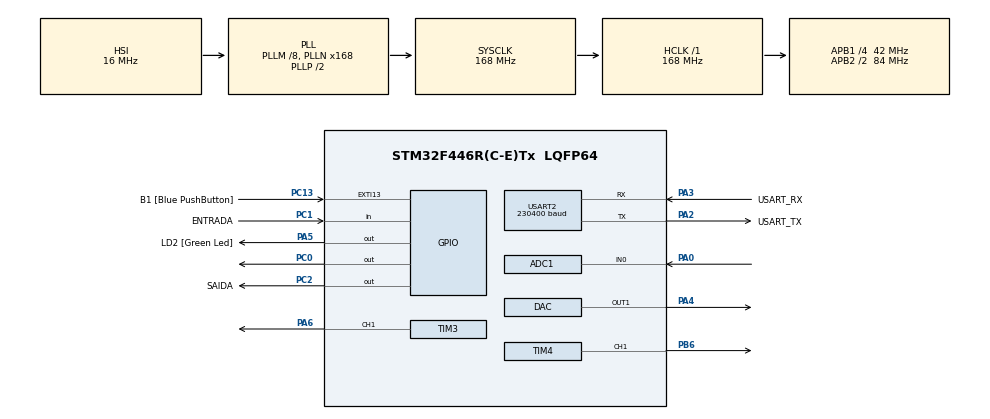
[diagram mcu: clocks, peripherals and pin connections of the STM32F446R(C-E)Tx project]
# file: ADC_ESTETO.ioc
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ADC1.Channel-0\#ChannelRegularConversion=ADC_CHANNEL_0
ADC1.DMAContinuousRequests=ENABLE
ADC1.ExternalTrigConv=ADC_EXTERNALTRIGCONV_T3_TRGO
ADC1.ExternalTrigConvEdge=ADC_EXTERNALTRIGCONVEDGE_RISING
ADC1.InjNumberOfConversion=0
ADC1.NbrOfConversion=1
ADC1.NbrOfConversionFlag=1
ADC1.Rank-0\#ChannelRegularConversion=1
ADC1.SamplingTime-0\#ChannelRegularConversion=ADC_SAMPLETIME_15CYCLES
ADC1.master=1
DAC.DAC_OutputBuffer=DAC_OUTPUTBUFFER_ENABLE
DAC.DAC_Trigger=DAC_TRIGGER_T4_TRGO
Dma.ADC1.0.Direction=DMA_PERIPH_TO_MEMORY
Dma.ADC1.0.FIFOMode=DMA_FIFOMODE_DISABLE
Dma.ADC1.0.Instance=DMA2_Stream0
Dma.ADC1.0.MemDataAlignment=DMA_MDATAALIGN_HALFWORD
Dma.ADC1.0.MemInc=DMA_MINC_ENABLE
Dma.ADC1.0.Mode=DMA_NORMAL
Dma.ADC1.0.PeriphDataAlignment=DMA_PDATAALIGN_HALFWORD
Dma.ADC1.0.PeriphInc=DMA_PINC_DISABLE
Dma.ADC1.0.Priority=DMA_PRIORITY_MEDIUM
Dma.DAC1.2.Direction=DMA_MEMORY_TO_PERIPH
Dma.DAC1.2.FIFOMode=DMA_FIFOMODE_DISABLE
Dma.DAC1.2.Instance=DMA1_Stream5
Dma.DAC1.2.MemDataAlignment=DMA_MDATAALIGN_HALFWORD
Dma.DAC1.2.MemInc=DMA_MINC_ENABLE
Dma.DAC1.2.Mode=DMA_NORMAL
Dma.DAC1.2.PeriphDataAlignment=DMA_PDATAALIGN_HALFWORD
Dma.DAC1.2.PeriphInc=DMA_PINC_DISABLE
Dma.DAC1.2.Priority=DMA_PRIORITY_HIGH
Dma.Request0=ADC1
Dma.Request1=USART2_TX
Dma.Request2=DAC1
Dma.USART2_TX.1.Direction=DMA_MEMORY_TO_PERIPH
Dma.USART2_TX.1.FIFOMode=DMA_FIFOMODE_DISABLE
Dma.USART2_TX.1.Instance=DMA1_Stream6
Dma.USART2_TX.1.MemDataAlignment=DMA_MDATAALIGN_BYTE
Dma.USART2_TX.1.MemInc=DMA_MINC_ENABLE
Dma.USART2_TX.1.Mode=DMA_NORMAL
Dma.USART2_TX.1.PeriphDataAlignment=DMA_PDATAALIGN_BYTE
Dma.USART2_TX.1.PeriphInc=DMA_PINC_DISABLE
Dma.USART2_TX.1.Priority=DMA_PRIORITY_VERY_HIGH
Mcu.Family=STM32F4
Mcu.Name=STM32F446R(C-E)Tx
Mcu.Package=LQFP64
NVIC.DMA1_Stream5_IRQn=true\:0\:0\:false\:false\:true\:false\:true\:true
NVIC.DMA1_Stream6_IRQn=true\:0\:0\:false\:false\:true\:false\:true\:true
NVIC.DMA2_Stream0_IRQn=true\:0\:0\:false\:false\:true\:false\:true\:true
NVIC.PriorityGroup=NVIC_PRIORITYGROUP_0
NVIC.USART2_IRQn=true\:0\:0\:false\:false\:true\:true\:true\:true
PA0-WKUP.Signal=ADCx_IN0
PA13.GPIO_Label=TMS
PA13.Signal=SYS_JTMS-SWDIO
PA14.GPIO_Label=TCK
PA14.Signal=SYS_JTCK-SWCLK
PA2.GPIO_Label=USART_TX
PA2.Mode=Asynchronous
PA2.Signal=USART2_TX
PA3.GPIO_Label=USART_RX
PA3.Mode=Asynchronous
PA3.Signal=USART2_RX
PA4.Signal=COMP_DAC1_group
PA5.GPIO_Label=LD2 [Green Led]
PA5.Signal=GPIO_Output
PA6.Signal=S_TIM3_CH1
PB3.GPIO_Label=SWO
PB3.Signal=SYS_JTDO-SWO
PB6.Signal=S_TIM4_CH1
PC0.Signal=GPIO_Output
PC1.GPIO_Label=ENTRADA
PC1.Signal=GPIO_Input
PC13.GPIO_Label=B1 [Blue PushButton]
PC13.GPIO_ModeDefaultEXTI=GPIO_MODE_IT_FALLING
PC13.Signal=GPXTI13
PC14-OSC32_IN.Signal=RCC_OSC32_IN
PC15-OSC32_OUT.Signal=RCC_OSC32_OUT
PC2.GPIO_Label=SAIDA
PC2.Signal=GPIO_Output
PH0-OSC_IN.Signal=RCC_OSC_IN
PH1-OSC_OUT.Signal=RCC_OSC_OUT
ProjectManager.HeapSize=0x200
ProjectManager.StackSize=0x400
ProjectManager.TargetToolchain=STM32CubeIDE
RCC.AHBFreq_Value=168000000
RCC.APB1CLKDivider=RCC_HCLK_DIV4
RCC.APB1Freq_Value=42000000
RCC.APB1TimFreq_Value=84000000
RCC.APB2CLKDivider=RCC_HCLK_DIV2
RCC.APB2Freq_Value=84000000
RCC.APB2TimFreq_Value=168000000
RCC.CortexFreq_Value=168000000
RCC.FLatency-AdvancedSettings=FLASH_LATENCY_5
RCC.HCLKFreq_Value=168000000
RCC.HSE_VALUE=8000000
RCC.HSI_VALUE=16000000
RCC.LSE_VALUE=32768
RCC.PLLM=8
RCC.PLLN=168
RCC.SYSCLKFreq_VALUE=168000000
RCC.SYSCLKSource=RCC_SYSCLKSOURCE_PLLCLK
RCC.USBFreq_Value=168000000
RCC.VCOOutputFreq_Value=336000000
SH.ADCx_IN0.0=ADC1_IN0,IN0
SH.COMP_DAC1_group.0=DAC_OUT1,DAC_OUT1
SH.S_TIM3_CH1.0=TIM3_CH1,Output Compare1 CH1
SH.S_TIM4_CH1.0=TIM4_CH1,Output Compare1 CH1
TIM3.Channel-Output\ Compare1\ CH1=TIM_CHANNEL_1
TIM3.OCMode_1=TIM_OCMODE_TOGGLE
TIM3.Period=99
TIM3.Prescaler=104
TIM3.Pulse-Output\ Compare1\ CH1=0
TIM3.TIM_MasterOutputTrigger=TIM_TRGO_UPDATE
TIM4.Channel-Output\ Compare1\ CH1=TIM_CHANNEL_1
TIM4.OCMode_1=TIM_OCMODE_TOGGLE
TIM4.Period=99
TIM4.Prescaler=104
TIM4.TIM_MasterOutputTrigger=TIM_TRGO_UPDATE
USART2.BaudRate=230400
USART2.VirtualMode=VM_ASYNC
VP_TIM3_VS_ClockSourceINT.Mode=Internal
VP_TIM4_VS_ClockSourceINT.Mode=Internal
board=NUCLEO-F446RE

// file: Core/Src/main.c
/* USER CODE BEGIN Header */
/**
  ******************************************************************************
  * @file           : main.c
  ******************************************************************************
  * @attention
  *
  * Softare feito para trabalho de conclusão do curso técnico em eletrônica na
  * fundação liberato.
  *
  * @brief
  * O código cosiste em aquisicionar amostras do ADC, processar usando filtros
  * digitais IIR Chebyhev II na forma de biquads transpostos usando a
  * biblioteca DSP da CMSIS e por fim enviar o som filtrado de volta pelo DAC
  *
  ******************************************************************************
  */
/* USER CODE END Header */
#include "main.h"

/* USER CODE BEGIN Includes */
#include "string.h"
#include "stdio.h"
#include "math.h"
#include "arm_math.h"
#include "arm_const_structs.h"
/* USER CODE END Includes */

/* USER CODE BEGIN PD */
#define N_AMOSTRAS 128 						 // Amostras DMA buffer
#define BLOCK_SIZE 32						 // Tamanho de cada bloco de amostras
#define NUM_BLOCKS (N_AMOSTRAS / BLOCK_SIZE) // Numero de blocos de 32 amostras

#define MSG_SIZE 200 // Tamanho da mensagem da serial
#define Voffset 1165 // offset de 1.5V
#define IIR_ORDEM 40 // Ordem do filtro
#define IIR_SECOESBIQUAD IIR_ORDEM/2 // Numero de seções biquads
#define GANHO_AUDIO 5				 // Ganho na amplitude das amostras
/* USER CODE END PD */

ADC_HandleTypeDef hadc1;
DMA_HandleTypeDef hdma_adc1;

DAC_HandleTypeDef hdac;
DMA_HandleTypeDef hdma_dac1;

TIM_HandleTypeDef htim3;
TIM_HandleTypeDef htim4;

UART_HandleTypeDef huart2;
DMA_HandleTypeDef hdma_usart2_tx;

/* USER CODE BEGIN PV */
int16_t medidas[2][N_AMOSTRAS];					// Valores do ADC em int16_t
uint16_t entra = 0;								// Linha do da matriz de amostras

float32_t entrada[N_AMOSTRAS];					// Valores não filtrados em float32
float32_t saida[N_AMOSTRAS];					// Valores filtrados em float32

float32_t *InputValuesf32_ptr = &entrada[0]; 	// declare Input pointer
float32_t *OutputValuesf32_ptr = &saida[0]; 	// declare Output pointer

int16_t amostras_de_saida[N_AMOSTRAS]; 			// Valores filtrados em int16
int16_t amostras_de_saida_py[N_AMOSTRAS];

uint8_t soltou = 0; // Variável para debounce
uint8_t estado = 0; // Variável para debounce

float32_t estado_biquad_coracao[IIR_ORDEM] = {0};
float32_t estado_biquad_pulmao[IIR_ORDEM] = {0};

float32_t coefs_biquad_coracao_negados[5*IIR_SECOESBIQUAD] = {
		0.00008961896804606912195646090113, 0.00002950709423280477720669297270, 0.00008961896804606910840393374507, 1.41151657231764571243104455788853, -0.50008321107119668713636428947211,
		1.00000000000000000000000000000000, -1.45272403227823065918755673919804, 1.00000000000000000000000000000000, 1.48721817981854065315872048813617, -0.56701045829571883327702153110295,
		1.00000000000000000000000000000000, -1.77462507126759705400331768032629, 0.99999999999999977795539507496869, 1.59377661128072922736009786603972, -0.66124185926229284149258091929369,
		1.00000000000000000000000000000000, -1.87386911961864788267462245130446, 1.00000000000000000000000000000000, 1.69284173992479969328428524022456, -0.74891929786118838219266535816132,
		1.00000000000000000000000000000000, -1.91590653990214776491995962715009, 0.99999999999999988897769753748435, 1.77125564502976340364170937391464, -0.81847039650147002110003313646303,
		1.00000000000000000000000000000000, -1.93712729209319012291246053791838, 1.00000000000000022204460492503131, 1.83000370938214751426187376637245, -0.87083113674767054224190587774501,
		1.00000000000000000000000000000000, -1.94894287076975136763223872549133, 1.00000000000000000000000000000000, 1.87388832064673049870862087118439, -0.91031580908123721496139069131459,
		1.00000000000000000000000000000000, -1.95578867538759193500652600050671, 0.99999999999999988897769753748435, 1.90753933409056153358562823996181, -0.94109662628393442318497363885399,
		1.00000000000000000000000000000000, -1.95962574095055086509375996683957, 1.00000000000000044408920985006262, 1.93458364200577337399522548366804, -0.96648143994030888404012102910201,
		1.00000000000000000000000000000000, -1.99999903425160541203808861610014, 0.99999999999999977795539507496869, 1.98694228711753995142430539999623, -0.98698626056918903337589199509239,
		1.00000000000000000000000000000000, -1.99999150577920059568270971794846, 1.00000000000000000000000000000000, 1.98743469100059355625376156240236, -0.98748590375360500992485413007671,
		1.00000000000000000000000000000000, -1.99997745061261578136679872841341, 1.00000000000000044408920985006262, 1.98835046963899730876335070206551, -0.98841505176057042891812898233184,
		1.00000000000000000000000000000000, -1.96136143971428511534327299159486, 1.00000000000000022204460492503131, 1.95779429640365343345820292597637, -0.98906306359198425948164867804735,
		1.00000000000000000000000000000000, -1.99995864881066864882086520083249, 1.00000000000000000000000000000000, 1.98958115513641686789014784153551, -0.98966336070438953864680797778419,
		1.00000000000000000000000000000000, -1.99993730509238143433492496114923, 0.99999999999999988897769753748435, 1.99101549426325252767355777905323, -0.99111740227632305622051944737905,
		1.00000000000000000000000000000000, -1.99991569038331329366542377101723, 0.99999999999999966693309261245304, 1.99256338282221578950270668428857, -0.99268497680061307253396307714866,
		1.00000000000000000000000000000000, -1.99989586849850953242935247544665, 0.99999999999999988897769753748435, 1.99416352492602300117141567170620, -0.99430298833067043418054709036369,
		1.00000000000000000000000000000000, -1.99987953650627403590078756678849, 1.00000000000000000000000000000000, 1.99578084122502286135159010882489, -0.99593493621585427177933524944820,
		1.00000000000000000000000000000000, -1.99986796039529823865166235918878, 0.99999999999999988897769753748435, 1.99740002394738880298064032103866, -0.99756447793350766506392801602487,
		1.00000000000000000000000000000000, -1.99986196871683374887140871578595, 1.00000000000000000000000000000000, 1.99901878719740699885676349367714, -0.99918865653074695476476563271717
};

float32_t coefs_biquad_pulmao_negados[5*IIR_SECOESBIQUAD] = {
		0.00042795945535743291259292431228, 0.00078419610124759648629721997537, 0.00042795945535743280417270706373, 0.36006952496092770044100461745984, -0.04017843778983194724663263741604,
		1.00000000000000000000000000000000, 0.89252630667361554372973841964267, 1.00000000000000022204460492503131, 0.45364598330667088577072831867554, -0.11426379035281511442612156770338,
		1.00000000000000000000000000000000, -0.00789340334742653568222969795443, 1.00000000000000022204460492503131, 0.60928054330644876301903423154727, -0.23685418792503715179620371600322,
		1.00000000000000000000000000000000, -0.58572416952888761709772325048107, 1.00000000000000022204460492503131, 0.78655854161661087342594100846327, -0.37583541856267932423918409767793,
		1.00000000000000000000000000000000, -0.93020186479068056595309599288157, 1.00000000000000000000000000000000, 0.95603586280143426634481329529081, -0.50874172366101455544651344098384,
		1.00000000000000000000000000000000, -1.13801800197083524679442234628368, 1.00000000000000044408920985006262, 1.10368686534339244253999368083896, -0.62582862518073678614882737747394,
		1.00000000000000000000000000000000, -1.26604034701301815246665682934690, 1.00000000000000000000000000000000, 1.22632645818834040696287956961896, -0.72598550552075735708967840764672,
		1.00000000000000000000000000000000, -1.34481150438902763433191012154566, 0.99999999999999977795539507496869, 1.32614379114315106278354505775496, -0.81229960168106829510037414365797,
		1.00000000000000000000000000000000, -1.39056301542469706866711476322962, 0.99999999999999988897769753748435, 1.40724697489610450773511729494203, -0.88947333091777203151195863028988,
		1.00000000000000000000000000000000, -1.99995367099179355285798465047264, 1.00000000000000000000000000000000, 1.91012500769369930608831964491401, -0.91220935560076643611182589665987,
		1.00000000000000000000000000000000, -1.99959441012323813069428979360964, 1.00000000000000000000000000000000, 1.91401082757505913711781886377139, -0.91641869915284701608726436461438,
		1.00000000000000000000000000000000, -1.99893245251865669942503700440284, 0.99999999999999988897769753748435, 1.92091447759981837073439692176180, -0.92391012215008927466186605670373,
		1.00000000000000000000000000000000, -1.99806396650676076909292078198632, 1.00000000000000000000000000000000, 1.92965388699269579930728468752932, -0.93340847415936045727846703812247,
		1.00000000000000000000000000000000, -1.99710028175798015581676736474037, 0.99999999999999988897769753748435, 1.93924426026518226251482701627538, -0.94383068733215291779004019190324,
		1.00000000000000000000000000000000, -1.99614686940687402483263213071041, 1.00000000000000000000000000000000, 1.94907041188968976896944695909042, -0.95447510993830875225540921746870,
		1.00000000000000000000000000000000, -1.41165524464389213754600405081874, 1.00000000000000022204460492503131, 1.47407397048799415628650422149803, -0.96286507962753364875396755451220,
		1.00000000000000000000000000000000, -1.99529117178488846207073947880417, 0.99999999999999988897769753748435, 1.95883936173909445344065716199111, -0.96497998633401582679880448267795,
		1.00000000000000000000000000000000, -1.99459875844276868228632793034194, 1.00000000000000022204460492503131, 1.96847696383129378006060505867936, -0.97522002983841216128269024920883,
		1.00000000000000000000000000000000, -1.99411456477494386518856117618270, 1.00000000000000022204460492503131, 1.97804028273214482780417711182963, -0.98521654709997008581012778449804,
		1.00000000000000000000000000000000, -1.99386602788905920036199859168846, 1.00000000000000000000000000000000, 1.98765837629074870740453206963139, -0.99507565999924563193701487762155
};

/* USER CODE END PV */

void SystemClock_Config(void);
static void MX_GPIO_Init(void);
static void MX_DMA_Init(void);
static void MX_ADC1_Init(void);
static void MX_TIM3_Init(void);
static void MX_USART2_UART_Init(void);
static void MX_DAC_Init(void);
static void MX_TIM4_Init(void);

/* USER CODE BEGIN 0 */
// Instâncias de cada filtro
arm_biquad_cascade_df2T_instance_f32 SC;
arm_biquad_cascade_df2T_instance_f32 SP;
/* USER CODE END 0 */

int main(void)
{

  /* USER CODE BEGIN 1 */
	// inicializando os filtros
	arm_biquad_cascade_df2T_init_f32(&SC, IIR_SECOESBIQUAD, &coefs_biquad_coracao_negados[0], &estado_biquad_coracao[0]);
	arm_biquad_cascade_df2T_init_f32(&SP, IIR_SECOESBIQUAD, &coefs_biquad_pulmao_negados[0], &estado_biquad_pulmao[0]);
  /* USER CODE END 1 */

  /* MCU Configuration--------------------------------------------------------*/

  /* Reset of all peripherals, Initializes the Flash interface and the Systick. */
  HAL_Init();

  /* Configure the system clock */
  SystemClock_Config();

  /* Initialize all configured peripherals */
  MX_GPIO_Init();
  MX_DMA_Init();
  MX_ADC1_Init();
  MX_TIM3_Init();
  MX_USART2_UART_Init();
  MX_DAC_Init();
  MX_TIM4_Init();
  /* USER CODE BEGIN 2 */
  HAL_TIM_OC_Start(&htim3, TIM_CHANNEL_1);
  HAL_TIM_OC_Start(&htim4, TIM_CHANNEL_1);

  //Começa a enviar as medidas para a memoria no caso 16
  HAL_ADC_Start_DMA(&hadc1, &medidas[entra][0], N_AMOSTRAS);

  /* USER CODE END 2 */

  /* Infinite loop */
   while (1)
  {
	   if(HAL_GPIO_ReadPin(B1_GPIO_Port, B1_Pin) == 1 && soltou == 0){
	   		soltou = 1;
	   		estado = ~estado;
	   	}

	   	if(HAL_GPIO_ReadPin(B1_GPIO_Port, B1_Pin) == 0){
	   	   soltou = 0;
	   	}
  }
}

void SystemClock_Config(void)
{
  RCC_OscInitTypeDef RCC_OscInitStruct = {0};
  RCC_ClkInitTypeDef RCC_ClkInitStruct = {0};

  /** Configure the main internal regulator output voltage
  */
  __HAL_RCC_PWR_CLK_ENABLE();
  __HAL_PWR_VOLTAGESCALING_CONFIG(PWR_REGULATOR_VOLTAGE_SCALE1);

  /** Initializes the RCC Oscillators according to the specified parameters
  * in the RCC_OscInitTypeDef structure.
  */
  RCC_OscInitStruct.OscillatorType = RCC_OSCILLATORTYPE_HSI;
  RCC_OscInitStruct.HSIState = RCC_HSI_ON;
  RCC_OscInitStruct.HSICalibrationValue = RCC_HSICALIBRATION_DEFAULT;
  RCC_OscInitStruct.PLL.PLLState = RCC_PLL_ON;
  RCC_OscInitStruct.PLL.PLLSource = RCC_PLLSOURCE_HSI;
  RCC_OscInitStruct.PLL.PLLM = 8;
  RCC_OscInitStruct.PLL.PLLN = 168;
  RCC_OscInitStruct.PLL.PLLP = RCC_PLLP_DIV2;
  RCC_OscInitStruct.PLL.PLLQ = 2;
  RCC_OscInitStruct.PLL.PLLR = 2;
  if (HAL_RCC_OscConfig(&RCC_OscInitStruct) != HAL_OK)
  {
    Error_Handler();
  }

  /** Initializes the CPU, AHB and APB buses clocks
  */
  RCC_ClkInitStruct.ClockType = RCC_CLOCKTYPE_HCLK|RCC_CLOCKTYPE_SYSCLK
                              |RCC_CLOCKTYPE_PCLK1|RCC_CLOCKTYPE_PCLK2;
  RCC_ClkInitStruct.SYSCLKSource = RCC_SYSCLKSOURCE_PLLCLK;
  RCC_ClkInitStruct.AHBCLKDivider = RCC_SYSCLK_DIV1;
  RCC_ClkInitStruct.APB1CLKDivider = RCC_HCLK_DIV4;
  RCC_ClkInitStruct.APB2CLKDivider = RCC_HCLK_DIV2;

  if (HAL_RCC_ClockConfig(&RCC_ClkInitStruct, FLASH_LATENCY_5) != HAL_OK)
  {
    Error_Handler();
  }
}

static void MX_ADC1_Init(void)
{

  ADC_ChannelConfTypeDef sConfig = {0};

  /** Configure the global features of the ADC (Clock, Resolution, Data Alignment and number of conversion)
  */
  hadc1.Instance = ADC1;
  hadc1.Init.ClockPrescaler = ADC_CLOCK_SYNC_PCLK_DIV4;
  hadc1.Init.Resolution = ADC_RESOLUTION_12B;
  hadc1.Init.ScanConvMode = DISABLE;
  hadc1.Init.ContinuousConvMode = DISABLE;
  hadc1.Init.DiscontinuousConvMode = DISABLE;
  hadc1.Init.ExternalTrigConvEdge = ADC_EXTERNALTRIGCONVEDGE_RISING;
  hadc1.Init.ExternalTrigConv = ADC_EXTERNALTRIGCONV_T3_TRGO;
  hadc1.Init.DataAlign = ADC_DATAALIGN_RIGHT;
  hadc1.Init.NbrOfConversion = 1;
  hadc1.Init.DMAContinuousRequests = ENABLE;
  hadc1.Init.EOCSelection = ADC_EOC_SINGLE_CONV;
  if (HAL_ADC_Init(&hadc1) != HAL_OK)
  {
    Error_Handler();
  }

  /** Configure for the selected ADC regular channel its corresponding rank in the sequencer and its sample time.
  */
  sConfig.Channel = ADC_CHANNEL_0;
  sConfig.Rank = 1;
  sConfig.SamplingTime = ADC_SAMPLETIME_15CYCLES;
  if (HAL_ADC_ConfigChannel(&hadc1, &sConfig) != HAL_OK)
  {
    Error_Handler();
  }

}

static void MX_DAC_Init(void)
{

  DAC_ChannelConfTypeDef sConfig = {0};

  /** DAC Initialization
  */
  hdac.Instance = DAC;
  if (HAL_DAC_Init(&hdac) != HAL_OK)
  {
    Error_Handler();
  }

  /** DAC channel OUT1 config
  */
  sConfig.DAC_Trigger = DAC_TRIGGER_T4_TRGO;
  sConfig.DAC_OutputBuffer = DAC_OUTPUTBUFFER_ENABLE;
  if (HAL_DAC_ConfigChannel(&hdac, &sConfig, DAC_CHANNEL_1) != HAL_OK)
  {
    Error_Handler();
  }

}

static void MX_TIM3_Init(void)
{

  TIM_ClockConfigTypeDef sClockSourceConfig = {0};
  TIM_MasterConfigTypeDef sMasterConfig = {0};
  TIM_OC_InitTypeDef sConfigOC = {0};

  htim3.Instance = TIM3;
  htim3.Init.Prescaler = 104;
  htim3.Init.CounterMode = TIM_COUNTERMODE_UP;
  htim3.Init.Period = 99;
  htim3.Init.ClockDivision = TIM_CLOCKDIVISION_DIV1;
  htim3.Init.AutoReloadPreload = TIM_AUTORELOAD_PRELOAD_DISABLE;
  if (HAL_TIM_Base_Init(&htim3) != HAL_OK)
  {
    Error_Handler();
  }
  sClockSourceConfig.ClockSource = TIM_CLOCKSOURCE_INTERNAL;
  if (HAL_TIM_ConfigClockSource(&htim3, &sClockSourceConfig) != HAL_OK)
  {
    Error_Handler();
  }
  if (HAL_TIM_OC_Init(&htim3) != HAL_OK)
  {
    Error_Handler();
  }
  sMasterConfig.MasterOutputTrigger = TIM_TRGO_UPDATE;
  sMasterConfig.MasterSlaveMode = TIM_MASTERSLAVEMODE_DISABLE;
  if (HAL_TIMEx_MasterConfigSynchronization(&htim3, &sMasterConfig) != HAL_OK)
  {
    Error_Handler();
  }
  sConfigOC.OCMode = TIM_OCMODE_TOGGLE;
  sConfigOC.Pulse = 0;
  sConfigOC.OCPolarity = TIM_OCPOLARITY_HIGH;
  sConfigOC.OCFastMode = TIM_OCFAST_DISABLE;
  if (HAL_TIM_OC_ConfigChannel(&htim3, &sConfigOC, TIM_CHANNEL_1) != HAL_OK)
  {
    Error_Handler();
  }
  HAL_TIM_MspPostInit(&htim3);

}

static void MX_TIM4_Init(void)
{

  TIM_ClockConfigTypeDef sClockSourceConfig = {0};
  TIM_MasterConfigTypeDef sMasterConfig = {0};
  TIM_OC_InitTypeDef sConfigOC = {0};

  htim4.Instance = TIM4;
  htim4.Init.Prescaler = 104;
  htim4.Init.CounterMode = TIM_COUNTERMODE_UP;
  htim4.Init.Period = 99;
  htim4.Init.ClockDivision = TIM_CLOCKDIVISION_DIV1;
  htim4.Init.AutoReloadPreload = TIM_AUTORELOAD_PRELOAD_DISABLE;
  if (HAL_TIM_Base_Init(&htim4) != HAL_OK)
  {
    Error_Handler();
  }
  sClockSourceConfig.ClockSource = TIM_CLOCKSOURCE_INTERNAL;
  if (HAL_TIM_ConfigClockSource(&htim4, &sClockSourceConfig) != HAL_OK)
  {
    Error_Handler();
  }
  if (HAL_TIM_OC_Init(&htim4) != HAL_OK)
  {
    Error_Handler();
  }
  sMasterConfig.MasterOutputTrigger = TIM_TRGO_UPDATE;
  sMasterConfig.MasterSlaveMode = TIM_MASTERSLAVEMODE_DISABLE;
  if (HAL_TIMEx_MasterConfigSynchronization(&htim4, &sMasterConfig) != HAL_OK)
  {
    Error_Handler();
  }
  sConfigOC.OCMode = TIM_OCMODE_TOGGLE;
  sConfigOC.Pulse = 0;
  sConfigOC.OCPolarity = TIM_OCPOLARITY_HIGH;
  sConfigOC.OCFastMode = TIM_OCFAST_DISABLE;
  if (HAL_TIM_OC_ConfigChannel(&htim4, &sConfigOC, TIM_CHANNEL_1) != HAL_OK)
  {
    Error_Handler();
  }
  HAL_TIM_MspPostInit(&htim4);

}

static void MX_USART2_UART_Init(void)
{

  huart2.Instance = USART2;
  huart2.Init.BaudRate = 230400;
  huart2.Init.WordLength = UART_WORDLENGTH_8B;
  huart2.Init.StopBits = UART_STOPBITS_1;
  huart2.Init.Parity = UART_PARITY_NONE;
  huart2.Init.Mode = UART_MODE_TX_RX;
  huart2.Init.HwFlowCtl = UART_HWCONTROL_NONE;
  huart2.Init.OverSampling = UART_OVERSAMPLING_16;
  if (HAL_UART_Init(&huart2) != HAL_OK)
  {
    Error_Handler();
  }

}

static void MX_DMA_Init(void)
{

  /* DMA controller clock enable */
  __HAL_RCC_DMA2_CLK_ENABLE();
  __HAL_RCC_DMA1_CLK_ENABLE();

  /* DMA interrupt init */
  /* DMA1_Stream5_IRQn interrupt configuration */
  HAL_NVIC_SetPriority(DMA1_Stream5_IRQn, 0, 0);
  HAL_NVIC_EnableIRQ(DMA1_Stream5_IRQn);
  /* DMA1_Stream6_IRQn interrupt configuration */
  HAL_NVIC_SetPriority(DMA1_Stream6_IRQn, 0, 0);
  HAL_NVIC_EnableIRQ(DMA1_Stream6_IRQn);
  /* DMA2_Stream0_IRQn interrupt configuration */
  HAL_NVIC_SetPriority(DMA2_Stream0_IRQn, 0, 0);
  HAL_NVIC_EnableIRQ(DMA2_Stream0_IRQn);

}

static void MX_GPIO_Init(void)
{
  GPIO_InitTypeDef GPIO_InitStruct = {0};

  /* GPIO Ports Clock Enable */
  __HAL_RCC_GPIOC_CLK_ENABLE();
  __HAL_RCC_GPIOH_CLK_ENABLE();
  __HAL_RCC_GPIOA_CLK_ENABLE();
  __HAL_RCC_GPIOB_CLK_ENABLE();

  /*Configure GPIO pin Output Level */
  HAL_GPIO_WritePin(GPIOC, GPIO_PIN_0|SAIDA_Pin, GPIO_PIN_RESET);

  /*Configure GPIO pin Output Level */
  HAL_GPIO_WritePin(LD2_GPIO_Port, LD2_Pin, GPIO_PIN_RESET);

  /*Configure GPIO pin : B1_Pin */
  GPIO_InitStruct.Pin = B1_Pin;
  GPIO_InitStruct.Mode = GPIO_MODE_IT_FALLING;
  GPIO_InitStruct.Pull = GPIO_NOPULL;
  HAL_GPIO_Init(B1_GPIO_Port, &GPIO_InitStruct);

  /*Configure GPIO pins : PC0 SAIDA_Pin */
  GPIO_InitStruct.Pin = GPIO_PIN_0|SAIDA_Pin;
  GPIO_InitStruct.Mode = GPIO_MODE_OUTPUT_PP;
  GPIO_InitStruct.Pull = GPIO_NOPULL;
  GPIO_InitStruct.Speed = GPIO_SPEED_FREQ_LOW;
  HAL_GPIO_Init(GPIOC, &GPIO_InitStruct);

  /*Configure GPIO pin : ENTRADA_Pin */
  GPIO_InitStruct.Pin = ENTRADA_Pin;
  GPIO_InitStruct.Mode = GPIO_MODE_INPUT;
  GPIO_InitStruct.Pull = GPIO_NOPULL;
  HAL_GPIO_Init(ENTRADA_GPIO_Port, &GPIO_InitStruct);

  /*Configure GPIO pin : LD2_Pin */
  GPIO_InitStruct.Pin = LD2_Pin;
  GPIO_InitStruct.Mode = GPIO_MODE_OUTPUT_PP;
  GPIO_InitStruct.Pull = GPIO_NOPULL;
  GPIO_InitStruct.Speed = GPIO_SPEED_FREQ_LOW;
  HAL_GPIO_Init(LD2_GPIO_Port, &GPIO_InitStruct);

}

int clamp_value(int16_t value ) {
	if(estado == 0) value = (value*3) + 1400;
	else value = (value*1.4) + 1400;
    if (value < 0.00) return 0;
    if (value > 4095) return 4095;
    return value;
}

/**
  * Processamento da metade dos dados aquisicionados pelo ADC
  * Checagem do botão | 0 para pulmão | 1 para coração
  */
void HAL_ADC_ConvHalfCpltCallback(ADC_HandleTypeDef* hadc){

	for(int amostra = 0; amostra < (N_AMOSTRAS/2); amostra++)
	{
		entrada[amostra] = (float32_t)medidas[entra][amostra]-Voffset;

	}

	// LOOP DE FILTRAGEM DOS SONS
	for (int k = 0; k < (NUM_BLOCKS/2); k++)
	{
		if(estado == 0){
			arm_biquad_cascade_df2T_f32(&SP, InputValuesf32_ptr + (k*BLOCK_SIZE), OutputValuesf32_ptr + (k*BLOCK_SIZE), BLOCK_SIZE);
		}
		else
			arm_biquad_cascade_df2T_f32(&SC, InputValuesf32_ptr + (k*BLOCK_SIZE), OutputValuesf32_ptr + (k*BLOCK_SIZE), BLOCK_SIZE);

	}

	for (int k = 0; k < (N_AMOSTRAS/2); k++)
	{
		int16_t var = clamp_value((int16_t)saida[k]);
		amostras_de_saida_py[k] = ((int16_t)saida[k])*GANHO_AUDIO; 	// Passando de float para int | para ser enviado pela serial
		amostras_de_saida[k] = var;		// Passando de float para int | para ser enviado pelo DAC
	}
}

/**
  * Processamento da segunda metade dos dados aquisicionados pelo ADC
  * Início do próximo ADC e transmissão de dados
  */
void HAL_ADC_ConvCpltCallback(ADC_HandleTypeDef* hadc){
	int16_t ent = entra; // Var para manter o processamento das amostras

	if(++entra>1) entra=0; // Começo do próximo aquisionamento
	HAL_ADC_Start_DMA(&hadc1, &medidas[entra][0], N_AMOSTRAS);
	HAL_DAC_Start_DMA(&hdac, DAC_CHANNEL_1, &amostras_de_saida[0], N_AMOSTRAS, DAC_ALIGN_12B_R);

	//HAL_GPIO_WritePin(GPIOC, GPIO_PIN_0, SET);
	for(int amostra = (N_AMOSTRAS/2); amostra < N_AMOSTRAS; amostra++)
	{
		entrada[amostra] = (float32_t)medidas[ent][amostra]-Voffset;
	}

	for (int k = (NUM_BLOCKS/2); k < NUM_BLOCKS; k++)
	{
		if(estado == 0){
			arm_biquad_cascade_df2T_f32(&SP, InputValuesf32_ptr + (k*BLOCK_SIZE), OutputValuesf32_ptr + (k*BLOCK_SIZE), BLOCK_SIZE);
		}
		else
			arm_biquad_cascade_df2T_f32(&SC, InputValuesf32_ptr + (k*BLOCK_SIZE), OutputValuesf32_ptr + (k*BLOCK_SIZE), BLOCK_SIZE);
	}

	for (int k = (N_AMOSTRAS/2); k < N_AMOSTRAS; k++)
	{
		int16_t var = clamp_value((int16_t)saida[k]);
		amostras_de_saida_py[k] = ((int16_t)saida[k])*GANHO_AUDIO;	// Passando de float para int | para ser enviado pela serial
		amostras_de_saida[k] = var;		// Passando de float para int | para ser enviado pelo DAC
	}
	HAL_UART_Transmit_DMA(&huart2, &amostras_de_saida_py[0], N_AMOSTRAS*2);
	//HAL_GPIO_WritePin(GPIOC, GPIO_PIN_0, RESET);
}

/* USER CODE END 4 */

void Error_Handler(void)
{
  __disable_irq();
  while (1)
  {
  }
}
